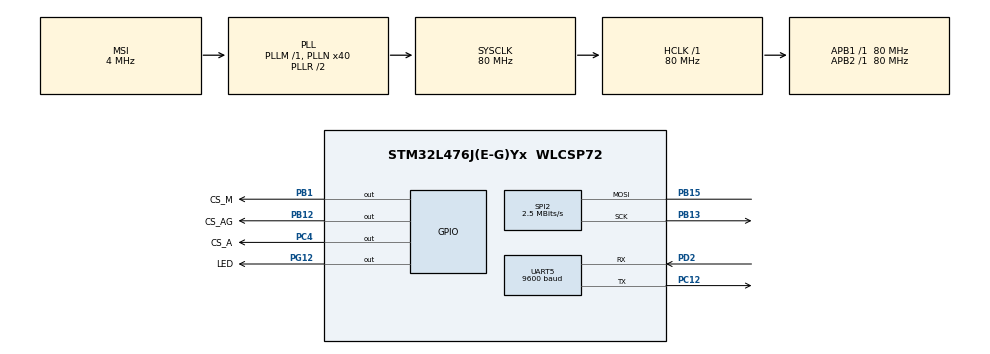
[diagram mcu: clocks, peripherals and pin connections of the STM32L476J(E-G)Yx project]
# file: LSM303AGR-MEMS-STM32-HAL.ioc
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Mcu.Family=STM32L4
Mcu.Name=STM32L476J(E-G)Yx
Mcu.Package=WLCSP72
NVIC.PriorityGroup=NVIC_PRIORITYGROUP_4
PA13\ (JTMS-SWDIO).Mode=Serial_Wire
PA13\ (JTMS-SWDIO).Signal=SYS_JTMS-SWDIO
PA14\ (JTCK-SWCLK).Mode=Serial_Wire
PA14\ (JTCK-SWCLK).Signal=SYS_JTCK-SWCLK
PB1.GPIO_Label=CS_M
PB1.Signal=GPIO_Output
PB12.GPIO_Label=CS_AG
PB12.Signal=GPIO_Output
PB13.GPIO_PuPd=GPIO_NOPULL
PB13.Mode=Simplex_Bidirectional_Master
PB13.Signal=SPI2_SCK
PB15.GPIO_PuPd=GPIO_NOPULL
PB15.Mode=Simplex_Bidirectional_Master
PB15.Signal=SPI2_MOSI
PC12.Mode=Asynchronous
PC12.Signal=UART5_TX
PC14-OSC32_IN\ (PC14).Mode=LSE-External-Oscillator
PC14-OSC32_IN\ (PC14).Signal=RCC_OSC32_IN
PC15-OSC32_OUT\ (PC15).Mode=LSE-External-Oscillator
PC15-OSC32_OUT\ (PC15).Signal=RCC_OSC32_OUT
PC4.GPIO_Label=CS_A
PC4.Signal=GPIO_Output
PD2.Mode=Asynchronous
PD2.Signal=UART5_RX
PG12.GPIO_Label=LED
PG12.Signal=GPIO_Output
ProjectManager.HeapSize=0x600
ProjectManager.StackSize=0x600
ProjectManager.TargetToolchain=STM32CubeIDE
RCC.ADCFreq_Value=48000000
RCC.AHBFreq_Value=80000000
RCC.APB1Freq_Value=80000000
RCC.APB1TimFreq_Value=80000000
RCC.APB2Freq_Value=80000000
RCC.APB2TimFreq_Value=80000000
RCC.CortexFreq_Value=80000000
RCC.HCLKFreq_Value=80000000
RCC.HSE_VALUE=8000000
RCC.HSI_VALUE=16000000
RCC.MSI_VALUE=4000000
RCC.PLLN=40
RCC.PLLSAI1N=24
RCC.PLLSAI2N=16
RCC.SYSCLKFreq_VALUE=80000000
RCC.SYSCLKSource=RCC_SYSCLKSOURCE_PLLCLK
RCC.UART5CLockSelection=RCC_UART5CLKSOURCE_HSI
RCC.USBFreq_Value=48000000
RCC.VCOOutputFreq_Value=160000000
SPI2.BaudRatePrescaler=SPI_BAUDRATEPRESCALER_32
SPI2.CLKPhase=SPI_PHASE_1EDGE
SPI2.CLKPolarity=SPI_POLARITY_LOW
SPI2.CalculateBaudRate=2.5 MBits/s
SPI2.DataSize=SPI_DATASIZE_8BIT
SPI2.Direction=SPI_DIRECTION_1LINE
SPI2.FirstBit=SPI_FIRSTBIT_MSB
SPI2.Mode=SPI_MODE_MASTER
SPI2.NSSPMode=SPI_NSS_PULSE_DISABLE
SPI2.VirtualType=VM_MASTER
UART5.BaudRate=9600
board=custom

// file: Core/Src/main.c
/* USER CODE BEGIN Header */
/**
  ******************************************************************************
  * @file           : main.c
  * @brief          : Main program body
  ******************************************************************************
  * @attention
  *
  * Copyright (c) 2022 STMicroelectronics.
  * All rights reserved.
  *
  * This software is licensed under terms that can be found in the LICENSE file
  * in the root directory of this software component.
  * If no LICENSE file comes with this software, it is provided AS-IS.
  *
  ******************************************************************************
  */
/* USER CODE END Header */
#include "main.h"

/* USER CODE BEGIN Includes */
#include "lsm303agr_reg.h"
#include <math.h>
/* USER CODE END Includes */

/* USER CODE BEGIN PTD */
typedef struct {
  void   *hbus;
  uint8_t i2c_address;
  GPIO_TypeDef *cs_port;
  uint16_t cs_pin;
} sensbus_t;
/* USER CODE END PTD */

/* USER CODE BEGIN PD */
#define    SENSOR_BUS hspi2
/* USER CODE END PD */

 SPI_HandleTypeDef hspi2;

UART_HandleTypeDef huart5;

void SystemClock_Config(void);
static void MX_GPIO_Init(void);
static void MX_SPI2_Init(void);
static void MX_UART5_Init(void);
/* USER CODE BEGIN PFP */
// function prototype
static int32_t platform_write(void *handle, uint8_t reg, const uint8_t *bufp,
                              uint16_t len);
static int32_t platform_read(void *handle, uint8_t reg, uint8_t *bufp,
                             uint16_t len);
static void platform_delay(uint32_t ms);
/* USER CODE END PFP */

/* USER CODE BEGIN 0 */
static sensbus_t xl_bus  = {&SENSOR_BUS,
                            0,
                            CS_A_GPIO_Port,
                            CS_A_Pin
                           };
static sensbus_t mag_bus = {&SENSOR_BUS,
                            0,
                            CS_M_GPIO_Port,
                            CS_M_Pin
                           };

//variable initialization
static int16_t data_raw_acceleration[3];
static float acceleration_mg[3];
static uint8_t whoamI, rst;
float pitch, roll;

/* USER CODE END 0 */

int main(void)
{

  /* MCU Configuration--------------------------------------------------------*/

  /* Reset of all peripherals, Initializes the Flash interface and the Systick. */
  HAL_Init();

  /* Configure the system clock */
  SystemClock_Config();

  /* Initialize all configured peripherals */
  MX_GPIO_Init();
  MX_SPI2_Init();
  MX_UART5_Init();
  /* USER CODE BEGIN 2 */

  /* Initialize mems driver interface */
  stmdev_ctx_t dev_ctx_xl;
  dev_ctx_xl.write_reg = platform_write;
  dev_ctx_xl.read_reg = platform_read;
  dev_ctx_xl.handle = (void *)&xl_bus;
  stmdev_ctx_t dev_ctx_mg;
  dev_ctx_mg.write_reg = platform_write;
  dev_ctx_mg.read_reg = platform_read;
  dev_ctx_mg.handle = (void *)&mag_bus;
  /* Wait boot time and initialize platform specific hardware */
  platform_init();
  /* Wait sensor boot time */
  platform_delay(BOOT_TIME);

  // set SPI as 3 wire communication
  lsm303agr_xl_spi_mode_set(&dev_ctx_xl, 1); //1:3wire 0:4wire

  /* Check device ID */
  whoamI = 0;
  lsm303agr_xl_device_id_get(&dev_ctx_xl, &whoamI);

  if ( whoamI != LSM303AGR_ID_XL )
    while (1); /*manage here device not found */

  whoamI = 0;
  lsm303agr_mag_device_id_get(&dev_ctx_mg, &whoamI);

  if ( whoamI != LSM303AGR_ID_MG )
    while (1); /*manage here device not found */

  /* Restore default configuration for magnetometer */
  lsm303agr_mag_reset_set(&dev_ctx_mg, PROPERTY_ENABLE);

  do {
    lsm303agr_mag_reset_get(&dev_ctx_mg, &rst);
  } while (rst);

  /* Enable Block Data Update */
  lsm303agr_xl_block_data_update_set(&dev_ctx_xl, PROPERTY_ENABLE);
  lsm303agr_mag_block_data_update_set(&dev_ctx_mg, PROPERTY_ENABLE);
  /* Set Output Data Rate */
  lsm303agr_xl_data_rate_set(&dev_ctx_xl, LSM303AGR_XL_ODR_1Hz);
  lsm303agr_mag_data_rate_set(&dev_ctx_mg, LSM303AGR_MG_ODR_10Hz);
  /* Set accelerometer full scale */
  lsm303agr_xl_full_scale_set(&dev_ctx_xl, LSM303AGR_2g);
  /* Set / Reset magnetic sensor mode */
  lsm303agr_mag_set_rst_mode_set(&dev_ctx_mg,
                                 LSM303AGR_SENS_OFF_CANC_EVERY_ODR);
  /* Enable temperature compensation on mag sensor */
  lsm303agr_mag_offset_temp_comp_set(&dev_ctx_mg, PROPERTY_ENABLE);
  /* Enable temperature sensor */
  lsm303agr_temperature_meas_set(&dev_ctx_xl, LSM303AGR_TEMP_ENABLE);
  /* Set device in continuous mode */
  lsm303agr_xl_operating_mode_set(&dev_ctx_xl, LSM303AGR_HR_12bit);
  /* Set magnetometer in continuous mode */
  lsm303agr_mag_operating_mode_set(&dev_ctx_mg,
                                   LSM303AGR_CONTINUOUS_MODE);

  /* USER CODE END 2 */

  /* Infinite loop */
  while (1)
  {

    /* USER CODE BEGIN 3 */
        /* Read output only if new value is available */
    lsm303agr_reg_t reg;
    lsm303agr_xl_status_get(&dev_ctx_xl, &reg.status_reg_a);

    if (reg.status_reg_a.zyxda) {
      /* Read accelerometer data */
      memset(data_raw_acceleration, 0x00, 3 * sizeof(int16_t));
      lsm303agr_acceleration_raw_get(&dev_ctx_xl,
                                     data_raw_acceleration);
      acceleration_mg[0] = lsm303agr_from_fs_2g_hr_to_mg(
                             data_raw_acceleration[0] );
      acceleration_mg[1] = lsm303agr_from_fs_2g_hr_to_mg(
                             data_raw_acceleration[1] );
      acceleration_mg[2] = lsm303agr_from_fs_2g_hr_to_mg(
                             data_raw_acceleration[2] );
      sprintf((char *)tx_buffer,
              "Acceleration [mg]:%4.2f\t%4.2f\t%4.2f\r\n",
              acceleration_mg[0], acceleration_mg[1], acceleration_mg[2]);
      tx_com( tx_buffer, strlen( (char const *)tx_buffer ) );
    }

    lsm303agr_mag_status_get(&dev_ctx_mg, &reg.status_reg_m);

    if (reg.status_reg_m.zyxda) {
      /* Read magnetic field data */
      memset(data_raw_magnetic, 0x00, 3 * sizeof(int16_t));
      lsm303agr_magnetic_raw_get(&dev_ctx_mg, data_raw_magnetic);
      magnetic_mG[0] = lsm303agr_from_lsb_to_mgauss(
                         data_raw_magnetic[0]);
      magnetic_mG[1] = lsm303agr_from_lsb_to_mgauss(
                         data_raw_magnetic[1]);
      magnetic_mG[2] = lsm303agr_from_lsb_to_mgauss(
                         data_raw_magnetic[2]);
      sprintf((char *)tx_buffer,
              "Magnetic field [mG]:%4.2f\t%4.2f\t%4.2f\r\n",
              magnetic_mG[0], magnetic_mG[1], magnetic_mG[2]);
      tx_com( tx_buffer, strlen( (char const *)tx_buffer ) );
    }

    lsm303agr_temp_data_ready_get(&dev_ctx_xl, &reg.byte);

    if (reg.byte) {
      /* Read temperature data */
      memset(&data_raw_temperature, 0x00, sizeof(int16_t));
      lsm303agr_temperature_raw_get(&dev_ctx_xl,
                                    &data_raw_temperature);
      temperature_degC = lsm303agr_from_lsb_hr_to_celsius(
                           data_raw_temperature );
      sprintf((char *)tx_buffer, "Temperature [degC]:%6.2f\r\n",
              temperature_degC );
      tx_com( tx_buffer, strlen( (char const *)tx_buffer ) );
    }

  }
  /* USER CODE END 3 */
}

void SystemClock_Config(void)
{
  RCC_OscInitTypeDef RCC_OscInitStruct = {0};
  RCC_ClkInitTypeDef RCC_ClkInitStruct = {0};

  /** Configure the main internal regulator output voltage
  */
  if (HAL_PWREx_ControlVoltageScaling(PWR_REGULATOR_VOLTAGE_SCALE1) != HAL_OK)
  {
    Error_Handler();
  }

  /** Configure LSE Drive Capability
  */
  HAL_PWR_EnableBkUpAccess();
  __HAL_RCC_LSEDRIVE_CONFIG(RCC_LSEDRIVE_LOW);

  /** Initializes the RCC Oscillators according to the specified parameters
  * in the RCC_OscInitTypeDef structure.
  */
  RCC_OscInitStruct.OscillatorType = RCC_OSCILLATORTYPE_HSI|RCC_OSCILLATORTYPE_LSE
                              |RCC_OSCILLATORTYPE_MSI;
  RCC_OscInitStruct.LSEState = RCC_LSE_ON;
  RCC_OscInitStruct.HSIState = RCC_HSI_ON;
  RCC_OscInitStruct.HSICalibrationValue = RCC_HSICALIBRATION_DEFAULT;
  RCC_OscInitStruct.MSIState = RCC_MSI_ON;
  RCC_OscInitStruct.MSICalibrationValue = 0;
  RCC_OscInitStruct.MSIClockRange = RCC_MSIRANGE_6;
  RCC_OscInitStruct.PLL.PLLState = RCC_PLL_ON;
  RCC_OscInitStruct.PLL.PLLSource = RCC_PLLSOURCE_MSI;
  RCC_OscInitStruct.PLL.PLLM = 1;
  RCC_OscInitStruct.PLL.PLLN = 40;
  RCC_OscInitStruct.PLL.PLLP = RCC_PLLP_DIV7;
  RCC_OscInitStruct.PLL.PLLQ = RCC_PLLQ_DIV2;
  RCC_OscInitStruct.PLL.PLLR = RCC_PLLR_DIV2;
  if (HAL_RCC_OscConfig(&RCC_OscInitStruct) != HAL_OK)
  {
    Error_Handler();
  }

  /** Initializes the CPU, AHB and APB buses clocks
  */
  RCC_ClkInitStruct.ClockType = RCC_CLOCKTYPE_HCLK|RCC_CLOCKTYPE_SYSCLK
                              |RCC_CLOCKTYPE_PCLK1|RCC_CLOCKTYPE_PCLK2;
  RCC_ClkInitStruct.SYSCLKSource = RCC_SYSCLKSOURCE_PLLCLK;
  RCC_ClkInitStruct.AHBCLKDivider = RCC_SYSCLK_DIV1;
  RCC_ClkInitStruct.APB1CLKDivider = RCC_HCLK_DIV1;
  RCC_ClkInitStruct.APB2CLKDivider = RCC_HCLK_DIV1;

  if (HAL_RCC_ClockConfig(&RCC_ClkInitStruct, FLASH_LATENCY_4) != HAL_OK)
  {
    Error_Handler();
  }

  /** Enable MSI Auto calibration
  */
  HAL_RCCEx_EnableMSIPLLMode();
}

static void MX_SPI2_Init(void)
{

  /* SPI2 parameter configuration*/
  hspi2.Instance = SPI2;
  hspi2.Init.Mode = SPI_MODE_MASTER;
  hspi2.Init.Direction = SPI_DIRECTION_1LINE;
  hspi2.Init.DataSize = SPI_DATASIZE_8BIT;
  hspi2.Init.CLKPolarity = SPI_POLARITY_LOW;
  hspi2.Init.CLKPhase = SPI_PHASE_1EDGE;
  hspi2.Init.NSS = SPI_NSS_SOFT;
  hspi2.Init.BaudRatePrescaler = SPI_BAUDRATEPRESCALER_32;
  hspi2.Init.FirstBit = SPI_FIRSTBIT_MSB;
  hspi2.Init.TIMode = SPI_TIMODE_DISABLE;
  hspi2.Init.CRCCalculation = SPI_CRCCALCULATION_DISABLE;
  hspi2.Init.CRCPolynomial = 7;
  hspi2.Init.CRCLength = SPI_CRC_LENGTH_DATASIZE;
  hspi2.Init.NSSPMode = SPI_NSS_PULSE_DISABLE;
  if (HAL_SPI_Init(&hspi2) != HAL_OK)
  {
    Error_Handler();
  }

}

static void MX_UART5_Init(void)
{

  huart5.Instance = UART5;
  huart5.Init.BaudRate = 9600;
  huart5.Init.WordLength = UART_WORDLENGTH_8B;
  huart5.Init.StopBits = UART_STOPBITS_1;
  huart5.Init.Parity = UART_PARITY_NONE;
  huart5.Init.Mode = UART_MODE_TX_RX;
  huart5.Init.HwFlowCtl = UART_HWCONTROL_NONE;
  huart5.Init.OverSampling = UART_OVERSAMPLING_16;
  huart5.Init.OneBitSampling = UART_ONE_BIT_SAMPLE_DISABLE;
  huart5.AdvancedInit.AdvFeatureInit = UART_ADVFEATURE_NO_INIT;
  if (HAL_UART_Init(&huart5) != HAL_OK)
  {
    Error_Handler();
  }

}

static void MX_GPIO_Init(void)
{
  GPIO_InitTypeDef GPIO_InitStruct = {0};

  /* GPIO Ports Clock Enable */
  __HAL_RCC_GPIOA_CLK_ENABLE();
  __HAL_RCC_GPIOD_CLK_ENABLE();
  __HAL_RCC_GPIOG_CLK_ENABLE();
  HAL_PWREx_EnableVddIO2();
  __HAL_RCC_GPIOB_CLK_ENABLE();
  __HAL_RCC_GPIOC_CLK_ENABLE();
  __HAL_RCC_GPIOH_CLK_ENABLE();

  /*Configure GPIO pin Output Level */
  HAL_GPIO_WritePin(LED_GPIO_Port, LED_Pin, GPIO_PIN_RESET);

  /*Configure GPIO pin Output Level */
  HAL_GPIO_WritePin(GPIOB, CS_AG_Pin|CS_M_Pin, GPIO_PIN_RESET);

  /*Configure GPIO pin Output Level */
  HAL_GPIO_WritePin(CS_A_GPIO_Port, CS_A_Pin, GPIO_PIN_RESET);

  /*Configure GPIO pins : PA15 PA12 PA11 PA10
                           PA8 PA9 PA1 PA4
                           PA2 PA7 PA6 PA5
                           PA3 PA0 */
  GPIO_InitStruct.Pin = GPIO_PIN_15|GPIO_PIN_12|GPIO_PIN_11|GPIO_PIN_10
                          |GPIO_PIN_8|GPIO_PIN_9|GPIO_PIN_1|GPIO_PIN_4
                          |GPIO_PIN_2|GPIO_PIN_7|GPIO_PIN_6|GPIO_PIN_5
                          |GPIO_PIN_3|GPIO_PIN_0;
  GPIO_InitStruct.Mode = GPIO_MODE_ANALOG;
  GPIO_InitStruct.Pull = GPIO_NOPULL;
  HAL_GPIO_Init(GPIOA, &GPIO_InitStruct);

  /*Configure GPIO pins : PG9 PG14 PG10 PG13
                           PG11 */
  GPIO_InitStruct.Pin = GPIO_PIN_9|GPIO_PIN_14|GPIO_PIN_10|GPIO_PIN_13
                          |GPIO_PIN_11;
  GPIO_InitStruct.Mode = GPIO_MODE_ANALOG;
  GPIO_InitStruct.Pull = GPIO_NOPULL;
  HAL_GPIO_Init(GPIOG, &GPIO_InitStruct);

  /*Configure GPIO pins : PB3 PB7 PB6 PB4
                           PB5 PB8 PB9 PB14
                           PB11 PB10 PB2 PB0 */
  GPIO_InitStruct.Pin = GPIO_PIN_3|GPIO_PIN_7|GPIO_PIN_6|GPIO_PIN_4
                          |GPIO_PIN_5|GPIO_PIN_8|GPIO_PIN_9|GPIO_PIN_14
                          |GPIO_PIN_11|GPIO_PIN_10|GPIO_PIN_2|GPIO_PIN_0;
  GPIO_InitStruct.Mode = GPIO_MODE_ANALOG;
  GPIO_InitStruct.Pull = GPIO_NOPULL;
  HAL_GPIO_Init(GPIOB, &GPIO_InitStruct);

  /*Configure GPIO pins : PC13 PC11 PC10 PC9
                           PC7 PC8 PC6 PC2
                           PC1 PC0 PC3 PC5 */
  GPIO_InitStruct.Pin = GPIO_PIN_13|GPIO_PIN_11|GPIO_PIN_10|GPIO_PIN_9
                          |GPIO_PIN_7|GPIO_PIN_8|GPIO_PIN_6|GPIO_PIN_2
                          |GPIO_PIN_1|GPIO_PIN_0|GPIO_PIN_3|GPIO_PIN_5;
  GPIO_InitStruct.Mode = GPIO_MODE_ANALOG;
  GPIO_InitStruct.Pull = GPIO_NOPULL;
  HAL_GPIO_Init(GPIOC, &GPIO_InitStruct);

  /*Configure GPIO pin : LED_Pin */
  GPIO_InitStruct.Pin = LED_Pin;
  GPIO_InitStruct.Mode = GPIO_MODE_OUTPUT_PP;
  GPIO_InitStruct.Pull = GPIO_NOPULL;
  GPIO_InitStruct.Speed = GPIO_SPEED_FREQ_LOW;
  HAL_GPIO_Init(LED_GPIO_Port, &GPIO_InitStruct);

  /*Configure GPIO pins : PH1 PH0 */
  GPIO_InitStruct.Pin = GPIO_PIN_1|GPIO_PIN_0;
  GPIO_InitStruct.Mode = GPIO_MODE_ANALOG;
  GPIO_InitStruct.Pull = GPIO_NOPULL;
  HAL_GPIO_Init(GPIOH, &GPIO_InitStruct);

  /*Configure GPIO pins : CS_AG_Pin CS_M_Pin */
  GPIO_InitStruct.Pin = CS_AG_Pin|CS_M_Pin;
  GPIO_InitStruct.Mode = GPIO_MODE_OUTPUT_PP;
  GPIO_InitStruct.Pull = GPIO_NOPULL;
  GPIO_InitStruct.Speed = GPIO_SPEED_FREQ_LOW;
  HAL_GPIO_Init(GPIOB, &GPIO_InitStruct);

  /*Configure GPIO pin : CS_A_Pin */
  GPIO_InitStruct.Pin = CS_A_Pin;
  GPIO_InitStruct.Mode = GPIO_MODE_OUTPUT_PP;
  GPIO_InitStruct.Pull = GPIO_NOPULL;
  GPIO_InitStruct.Speed = GPIO_SPEED_FREQ_LOW;
  HAL_GPIO_Init(CS_A_GPIO_Port, &GPIO_InitStruct);

}

/* USER CODE BEGIN 4 */
/*
 * @brief  Write generic device register (platform dependent)
 *
 * @param  handle    customizable argument. In this examples is used in
 *                   order to select the correct sensor bus handler.
 * @param  reg       register to write
 * @param  bufp      pointer to data to write in register reg
 * @param  len       number of consecutive register to write
 *
 */
static int32_t platform_write(void *handle, uint8_t reg, const uint8_t *bufp,
                              uint16_t len)
{
	sensbus_t *sensbus = (sensbus_t *)handle;
	  if (sensbus->cs_pin == CS_A_Pin) {
	    /* enable auto incremented in multiple read/write commands */
	    reg |= 0x40;
	  }

	  HAL_GPIO_WritePin(sensbus->cs_port, sensbus->cs_pin, GPIO_PIN_RESET);
	  HAL_SPI_Transmit(sensbus->hbus, &reg, 1, 1000);
	  HAL_SPI_Transmit(sensbus->hbus, (uint8_t*) bufp, len, 1000);
	  HAL_GPIO_WritePin(sensbus->cs_port, sensbus->cs_pin, GPIO_PIN_SET);  return 0;
}

/*
 * @brief  Read generic device register (platform dependent)
 *
 * @param  handle    customizable argument. In this examples is used in
 *                   order to select the correct sensor bus handler.
 * @param  reg       register to read
 * @param  bufp      pointer to buffer that store the data read
 * @param  len       number of consecutive register to read
 *
 */
static int32_t platform_read(void *handle, uint8_t reg, uint8_t *bufp,
                             uint16_t len)
{
	sensbus_t *sensbus = (sensbus_t *)handle;
	  reg |= 0x80;

	  if (sensbus->cs_pin == CS_A_Pin) {
	    /* enable auto incremented in multiple read/write commands */
	    reg |= 0x40;
	  }

	  HAL_GPIO_WritePin(sensbus->cs_port, sensbus->cs_pin, GPIO_PIN_RESET);
	  HAL_SPI_Transmit(sensbus->hbus, &reg, 1, 1000);
	  HAL_SPI_Receive(sensbus->hbus, bufp, len, 1000);
	  HAL_GPIO_WritePin(sensbus->cs_port, sensbus->cs_pin, GPIO_PIN_SET);
  return 0;
}

/*
 * @brief  platform specific delay (platform dependent)
 *
 * @param  ms        delay in ms
 *
 */
static void platform_delay(uint32_t ms)
{
  HAL_Delay(ms);
}

/* USER CODE END 4 */

void Error_Handler(void)
{
  __disable_irq();
  while (1)
  {
  }
}
